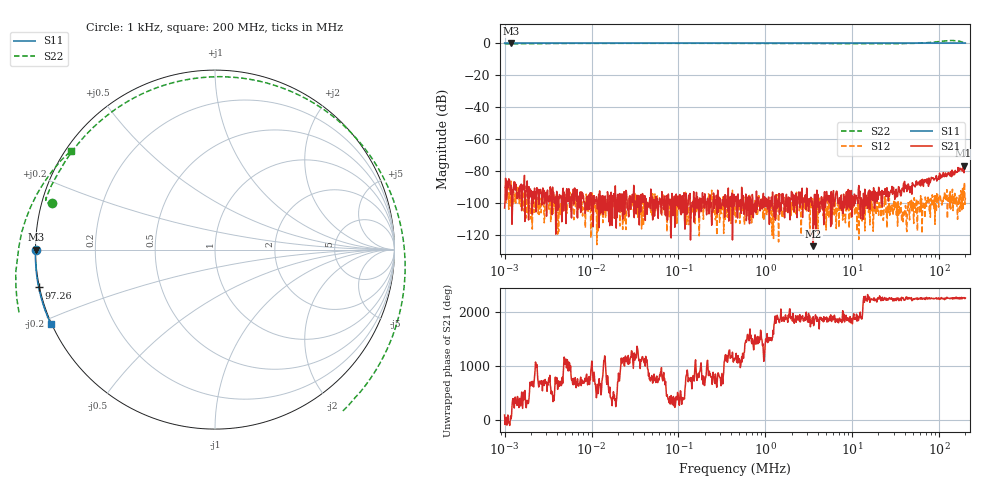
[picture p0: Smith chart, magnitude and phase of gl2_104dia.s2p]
! ListType=Log
# MHZ S RI R 50
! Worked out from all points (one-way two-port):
!   1000 points, 1 kHz to 200 MHz, reference 50 ohm
!   highest |S21| = -76.58 dB at 190.5 MHz (marker M1); lowest = -127.0 dB at 3.548 MHz (marker M2)
!   lowest |S11| = 0.0 dB at 1.187 kHz (marker M3)
!   |S11| at or under -10 dB: nowhere
!   |S22| runs from -0.5 to 1.7 dB; largest |S21 - S12| = 0.00016
!   S11 on the Smith chart (normalised r, x): 1 kHz: 0.00, -0.00; 97.26 MHz: -0.00, -0.11; 200 MHz: -0.00, -0.22
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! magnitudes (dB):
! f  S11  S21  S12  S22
! 1 kHz  0.0  -103.1  -89.9  -0.5
! 1.187 kHz  0.0  -88.9  -86.4  -0.5
! 7.694 kHz  0.0  -93.1  -101.3  -0.2
! 58.48 kHz  0.0  -109.6  -102.4  -0.1
! 450 kHz  0.0  -97.2  -102.7  -0.2
! 3.42 MHz  0.0  -101.6  -102.6  -0.2
! 3.548 MHz  0.0  -127.0  -102.1  -0.2
! 26.31 MHz  0.0  -93.3  -106.0  -0.4
! 56.82 MHz  0.0  -87.7  -98.9  -0.1
! 74.34 MHz  0.0  -86.2  -96.4  0.3
! 97.26 MHz  0.0  -84.5  -99.7  0.9
! 128.8 MHz  0.0  -80.9  -95.9  1.6
! 152.9 MHz  0.0  -79.6  -100.6  1.6
! 154.7 MHz  0.0  -80.8  -97.1  1.5
! 160.5 MHz  0.0  -80.5  -103.5  1.5
! 170.6 MHz  0.0  -79.8  -95.3  1.2
! 177 MHz  0.0  -78.8  -92.3  1.0
! 179.2 MHz  0.1  -78.6  -93.7  0.9
! 185.9 MHz  0.0  -80.0  -91.0  0.6
! 190.5 MHz  0.0  -76.6  -90.7  0.3
! 195.2 MHz  0.0  -77.8  -87.1  0.1
! 200 MHz  0.0  -76.7  -96.8  -0.2
